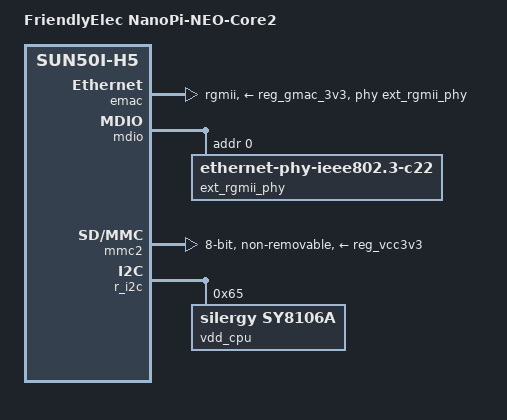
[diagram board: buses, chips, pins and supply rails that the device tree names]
/*
 * Copyright (C) 2016 ARM Ltd.
 *
 * This file is dual-licensed: you can use it either under the terms
 * of the GPL or the X11 license, at your option. Note that this dual
 * licensing only applies to this file, and not this project as a
 * whole.
 *
 *  a) This file is free software; you can redistribute it and/or
 *     modify it under the terms of the GNU General Public License as
 *     published by the Free Software Foundation; either version 2 of the
 *     License, or (at your option) any later version.
 *
 *     This file is distributed in the hope that it will be useful,
 *     but WITHOUT ANY WARRANTY; without even the implied warranty of
 *     MERCHANTABILITY or FITNESS FOR A PARTICULAR PURPOSE.  See the
 *     GNU General Public License for more details.
 *
 * Or, alternatively,
 *
 *  b) Permission is hereby granted, free of charge, to any person
 *     obtaining a copy of this software and associated documentation
 *     files (the "Software"), to deal in the Software without
 *     restriction, including without limitation the rights to use,
 *     copy, modify, merge, publish, distribute, sublicense, and/or
 *     sell copies of the Software, and to permit persons to whom the
 *     Software is furnished to do so, subject to the following
 *     conditions:
 *
 *     The above copyright notice and this permission notice shall be
 *     included in all copies or substantial portions of the Software.
 *
 *     THE SOFTWARE IS PROVIDED "AS IS", WITHOUT WARRANTY OF ANY KIND,
 *     EXPRESS OR IMPLIED, INCLUDING BUT NOT LIMITED TO THE WARRANTIES
 *     OF MERCHANTABILITY, FITNESS FOR A PARTICULAR PURPOSE AND
 *     NONINFRINGEMENT. IN NO EVENT SHALL THE AUTHORS OR COPYRIGHT
 *     HOLDERS BE LIABLE FOR ANY CLAIM, DAMAGES OR OTHER LIABILITY,
 *     WHETHER IN AN ACTION OF CONTRACT, TORT OR OTHERWISE, ARISING
 *     FROM, OUT OF OR IN CONNECTION WITH THE SOFTWARE OR THE USE OR
 *     OTHER DEALINGS IN THE SOFTWARE.
 */

#include "sun50i-h5-nanopi.dtsi"

/ {
	model = "FriendlyElec NanoPi-NEO-Core2";
	compatible = "friendlyelec,nanopi-neo-core2", "allwinner,sun50i-h5";
};

&cpu0 {
	operating-points = <
		/* kHz	  uV */
		1248000 1280000
		1008000 1180000
		816000  1100000
		624000  1040000
		480000  1040000
		>;
	#cooling-cells = <2>;
	cooling-min-level = <0>;
	cooling-max-level = <4>;
	cpu0-supply = <&vdd_cpu>;
};

&cpu_thermal {
	trips {
		cpu_warm: cpu_warm {
			temperature = <60000>;
			hysteresis = <2000>;
			type = "passive";
		};
		cpu_hot: cpu_hot {
			temperature = <70000>;
			hysteresis = <2000>;
			type = "passive";
		};
		cpu_very_hot: cpu_very_hot {
			temperature = <80000>;
			hysteresis = <2000>;
			type = "passive";
		};
		cpu_alert_hot: cpu_alert_hot {
			temperature = <90000>;
			hysteresis = <2000>;
			type = "passive";
		};
		cpu_crit: cpu_crit {
			temperature = <100000>;
			hysteresis = <2000>;
			type = "critical";
		};
	};

	cooling-maps {
		cpu_warm_limit_cpu {
			trip = <&cpu_warm>;
			cooling-device = <&cpu0 THERMAL_NO_LIMIT 1>;
		};
		cpu_hot_limit_cpu {
			trip = <&cpu_hot>;
			cooling-device = <&cpu0 THERMAL_NO_LIMIT 2>;
		};
		cpu_very_hot_limit_cpu {
			trip = <&cpu_very_hot>;
			cooling-device = <&cpu0 THERMAL_NO_LIMIT 3>;
		};
		cpu_alert_hot_limit_cpu {
			trip = <&cpu_alert_hot>;
			cooling-device = <&cpu0 4 THERMAL_NO_LIMIT>;
		};
	};
};

&emac {
	pinctrl-names = "default";
	pinctrl-0 = <&emac_rgmii_pins>;
	phy-supply = <&reg_gmac_3v3>;
	phy-handle = <&ext_rgmii_phy>;
	phy-mode = "rgmii";
	allwinner,leds-active-low;
	status = "okay";
};

&mdio {
	ext_rgmii_phy: ethernet-phy@1 {
		compatible = "ethernet-phy-ieee802.3-c22";
		reg = <0>;
	};
};

&mmc2 {
	pinctrl-names = "default";
	pinctrl-0 = <&mmc2_8bit_pins>;
	vmmc-supply = <&reg_vcc3v3>;
	bus-width = <8>;
	non-removable;
	cap-mmc-hw-reset;
	boot_device = <0>;
	status = "okay";
};

&mmc2_8bit_pins {
	/* Increase drive strength for DDR modes */
	drive-strength = <40>;
	/* eMMC is missing pull-ups */
	bias-pull-up;
};

&r_i2c {
	status = "okay";

	vdd_cpu: regulator@65 {
		compatible = "silergy,sy8106a";
		reg = <0x65>;
		regulator-min-microvolt = <940000>;
		regulator-max-microvolt = <1400000>;
		regulator-ramp-delay = <200>;
		regulator-boot-on;
		regulator-always-on;
	};
};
